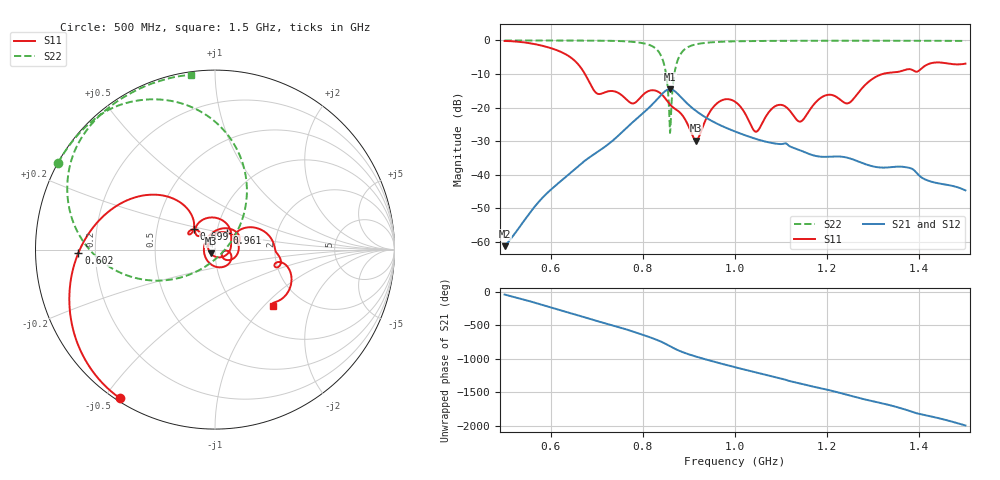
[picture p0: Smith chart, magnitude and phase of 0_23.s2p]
! TOUCHSTONE file generated by CST MICROWAVE STUDIO
! Date and time: Mon Sep 28 14:10:42 2020
! Project name: Scenario_1_Free_SPace.cst
! Parameters = {dx1=554.3; L_HA=400; MT=2.54; Rad_Dielectric=30; Rad_Lower=7.3; Rad_Upper=30; a_HA=580; a_WG=246; b_HA=500; b_WG=121; c_HA=0; c_WG=187; d_feed=85; h_feed=15; h_lower=18; h_upper=40}
! Header version: 2018
! Port assignment regex: !\s*Touchstone port\s*([0-9]+)\s*=\s*(CST MWS port|CST DS port)\s*([0-9]+|Zmin|Zmax)\s*\(\"(.*)\"\)(\s*mode\s*([0-9]+))?.*
! Touchstone port assignment:
! Touchstone port 1 = CST MWS port 1 ("")
! Touchstone port 2 = CST MWS port 2 ("")
# GHz S DB R 50
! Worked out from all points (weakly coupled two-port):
!   1003 points, 500 MHz to 1.5 GHz, reference 50 ohm
!   highest |S21| = -14.53 dB at 859 MHz (marker M1); lowest = -61.3 dB at 500 MHz (marker M2)
!   lowest |S11| = -29.8 dB at 915 MHz (marker M3), VSWR 1.07, Z = 47.6 - j2.04 ohm
!   |S11| at or under -10 dB: 674.4 MHz to 1.32 GHz (645.8 MHz wide, 64.8 % of centre)
!   |S22| runs from -27.6 to 0.0 dB; largest |S21 - S12| = 0.0017
!   S11 on the Smith chart (normalised r, x): 500 MHz: 0.01, -0.55; 602 MHz: 0.14, -0.01; 699 MHz: 0.77, +0.18; 961 MHz: 1.12, +0.21; 1.5 GHz: 1.43, -1.13
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0.5  -0.15 -122.6  -61.27 -37.2  -61.27 -37.2  -0.01 151.1
0.555  -0.84 -150.5  -51.33 -138.5  -51.32 -138.6  -0.01 147.4
0.602  -2.37 -178.6  -44.25 125.8  -44.25 125.8  -0.02 143.9
0.667  -8.40 130.4  -36.61 -5.0  -36.61 -5.0  -0.04 138.3
0.699  -15.66 136.1  -33.44 -70.9  -33.43 -70.9  -0.07 134.9
0.785  -18.37 141.4  -23.50 113.5  -23.50 113.5  -0.52 118.7
0.834  -15.34 79.1  -17.07 -6.5  -17.07 -6.5  -3.30 87.3
0.847  -16.97 53.7  -15.26 -47.6  -15.26 -47.6  -7.64 65.0
0.859  -19.10 35.4  -14.53 -91.4  -14.53 -91.4  -27.55 -31.3
0.868  -20.19 23.5  -14.99 -124.4  -14.99 -124.4  -10.31 -146.5
0.878  -21.16 5.0  -16.22 -156.9  -16.22 -156.9  -5.08 -167.5
0.915  -29.82 -138.4  -20.95 113.8  -20.95 113.8  -1.17 160.1
0.961  -18.72 54.5  -24.79 24.3  -24.79 24.3  -0.46 146.6
1  -18.23 -17.2  -27.12 -46.2  -27.12 -46.2  -0.27 140.2
1.045  -27.19 -26.4  -29.32 -124.0  -29.32 -124.0  -0.17 134.9
1.09  -19.40 -34.2  -30.77 161.0  -30.80 160.9  -0.13 130.6
1.141  -24.17 178.4  -32.70 68.1  -32.70 68.0  -0.10 126.2
1.167  -19.78 90.9  -34.10 26.4  -34.10 26.4  -0.09 124.1
1.202  -16.19 36.2  -34.65 -26.5  -34.65 -26.5  -0.09 121.4
1.247  -18.63 27.9  -35.05 -108.3  -35.05 -108.3  -0.09 118.0
1.334  -9.63 4.5  -37.80 108.1  -37.80 108.1  -0.09 111.4
1.5  -6.92 -44.2  -44.66 160.8  -44.67 160.8  -0.15 97.9
